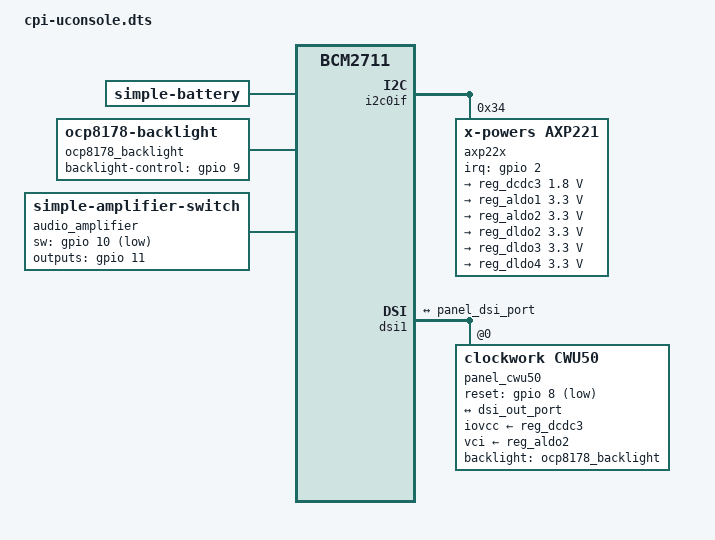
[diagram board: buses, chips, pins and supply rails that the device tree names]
/dts-v1/;
/plugin/;

/{
  compatible = "brcm,bcm2711";

  fragment@10 {
    target = <&i2c0if>;
    __overlay__ {
      #address-cells = <1>;
      #size-cells = <0>;
      pinctrl-0 = <&i2c0_pins>;
      pinctrl-names = "default";
      status = "okay";

      axp22x: pmic@34 {
        interrupt-controller;
        #interrupt-cells = <1>;
        compatible = "x-powers,axp221";
        reg = <0x34>; /* i2c address */
        interrupt-parent = <&gpio>;
        interrupts = <2 8>;  /* IRQ_TYPE_EDGE_FALLING */
        irq-gpios = <&gpio 2 0>;

        regulators {

          x-powers,dcdc-freq = <3000>;

					reg_dcdc3: dcdc3 {
						regulator-name = "sys-1v8";
						regulator-always-on;
						regulator-min-microvolt = <1800000>;
						regulator-max-microvolt = <1800000>;
					};

          reg_aldo1: aldo1 {
            regulator-always-on;
            regulator-min-microvolt = <3300000>;
            regulator-max-microvolt = <3300000>;
            regulator-name = "audio-vdd";
          };

          reg_aldo2: aldo2 {
            regulator-min-microvolt = <3300000>;
            regulator-max-microvolt = <3300000>;
            regulator-name = "display-vcc";
          };

          reg_dldo2: dldo2 {
            regulator-always-on;
            regulator-min-microvolt = <3300000>;
            regulator-max-microvolt = <3300000>;
            regulator-name = "dldo2";
          };

          reg_dldo3: dldo3 {
            regulator-always-on;
            regulator-min-microvolt = <3300000>;
            regulator-max-microvolt = <3300000>;
            regulator-name = "dldo3";
          };

          reg_dldo4: dldo4 {
            regulator-always-on;
            regulator-min-microvolt = <3300000>;
            regulator-max-microvolt = <3300000>;
            regulator-name = "dldo4";
          };

        };

        battery_power_supply: battery-power-supply {
          compatible = "x-powers,axp221-battery-power-supply";
          monitored-battery = <&battery>;
        };

        ac_power_supply: ac_power_supply {
          compatible = "x-powers,axp221-ac-power-supply";
        };

      };
    };
  };

  fragment@11 {
    target = <&i2c0if>;
    __overlay__ {
      compatible = "brcm,bcm2708-i2c";
    };
  };

  fragment@12 {
    target-path = "/aliases";
    __overlay__ {
      i2c0 = "/soc/i2c@7e205000";
    };
  };

  fragment@13 {
    target-path = "/";
    __overlay__  {
      battery: battery@0 {
        compatible = "simple-battery";
        device-chemistry = "lithium-ion";
        constant-charge-current-max-microamp = <2100000>;
        voltage-max-design-microvolt = <4200000>;
        re-charge-voltage-microvolt = <4000000>;
        // adjust the following params according to your battery specs
        voltage-min-design-microvolt = <3300000>;
        energy-full-design-microwatt-hours = <24790000>; // 2x3350mAh * 3.7v
        charge-full-design-microamp-hours = <6700000>; // 2x3350mAh
      };
    };
  };

  fragment@90 {
    target=<&dsi1>;
    __overlay__ {
      #address-cells = <1>;
      #size-cells = <0>;
      status = "okay";

      port {
        dsi_out_port: endpoint {
          remote-endpoint = <&panel_dsi_port>;
        };
      };

      panel_cwu50: panel@0 {
        compatible = "clockwork,cwu50";
        reg = <0>;
        reset-gpio = <&gpio 8 1>;
        backlight = <&ocp8178_backlight>;
        rotation = <90>;
        iovcc-supply = <&reg_dcdc3>;
        vci-supply = <&reg_aldo2>;

        port {
          panel_dsi_port: endpoint {
            remote-endpoint = <&dsi_out_port>;
          };
        };
      };
    };
  };

  fragment@91 {
    target-path = "/";
    __overlay__  {
      ocp8178_backlight: backlight@0 {
        compatible = "ocp8178-backlight";
        backlight-control-gpios = <&gpio 9 0>;
        default-brightness = <5>;
      };
    };
  };

  fragment@92 {
    target-path = "/";
    __overlay__  {
			audio_amplifier: audio-amplifier {
				compatible = "simple-amplifier-switch";
				sw-gpios = <&gpio 10 1>; /* GPIO10, GPIO_ACTIVE_LOW */
				outputs-gpios = <&gpio 11 0>; /* GPIO11, GPIO_ACTIVE_HIGH */
				// vdd-supply = <&uc_reg_5v0>; /* FIXME */
			};
    };
  };

};
